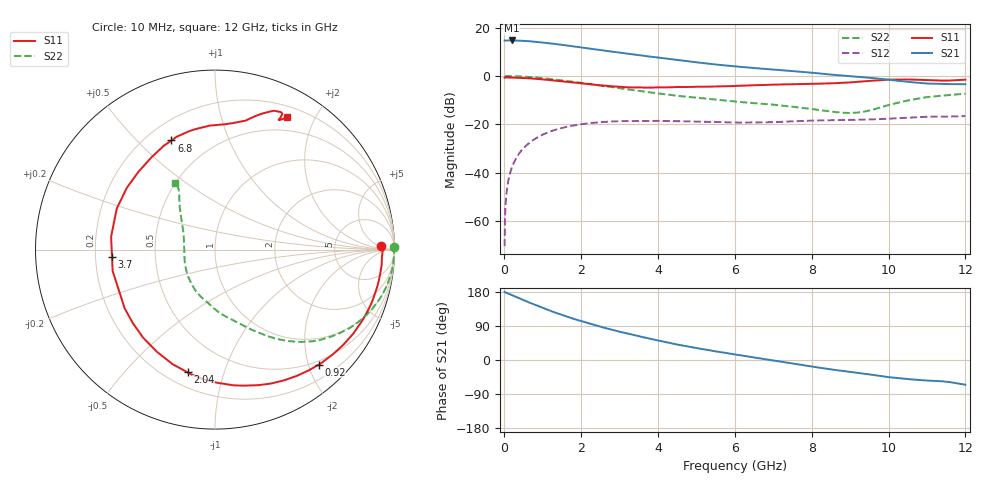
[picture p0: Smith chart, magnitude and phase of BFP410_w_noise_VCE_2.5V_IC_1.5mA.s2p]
! Infineon Technologies  Discrete & RF Semiconductors
! BFP410
! VCE =  2.5 V,  IC =  1.5 mA
! Common Emitter S-Parameters:  Nov 2015
# GHz  S  MA  R  50
!  f  S11  S21  S12  S22
! GHz  MAG  ANG  MAG  ANG  MAG  ANG  MAG  ANG
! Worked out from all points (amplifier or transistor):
!   243 points, 10 MHz to 12 GHz, reference 50 ohm
!   highest |S21| = 14.7 dB at 200 MHz (marker M1)
!   |S21| within 3 dB of that: start of sweep to 2.05 GHz
!   unconditionally stable (mu >= 1): 4.323 GHz to end of sweep
!   at 240 MHz: K = 0.03, MSG = 25.4 dB, |S12| = -36.2 dB
!   at 1.84 GHz: K = 0.33, MSG = 16.3 dB, |S12| = -20.4 dB
!   at 12 GHz: K = 1.19, MAG = 4.0 dB, |S12| = -16.6 dB
!   lowest NFmin = 0.80 dB at 900 MHz
!   S11 on the Smith chart (normalised r, x): 10 MHz: 25, +6; 920 MHz: 0.43, -2.18; 2.04 GHz: 0.28, -0.76; 3.7 GHz: 0.27, -0.03; 6.8 GHz: 0.30, +0.63; 12 GHz: 0.33, +1.64
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0.01  0.9263 1.1  5.454 179.6  0.0003 73.1  1 0.9
0.02  0.934 -0.6  5.435 179.2  0.0012 81.6  0.9933 0.1
0.045  0.9314 -2.0  5.429 177.7  0.0029 82.3  0.9974 -0.7
0.11  0.9321 -5.6  5.45 175.2  0.0071 86.8  0.9974 -2.9
0.2  0.9291 -10.3  5.455 171.4  0.0129 84.4  0.9945 -5.3
0.6  0.9016 -31.2  5.285 153.7  0.0381 72.8  0.9618 -15.9
0.92  0.8629 -47.9  5.027 140.7  0.0567 63.5  0.9161 -23.8
1.2  0.8234 -62.3  4.753 129.7  0.0713 55.8  0.8683 -30.2
1.4  0.7925 -72.4  4.532 122.3  0.08 50.4  0.8314 -34.4
1.66  0.754 -84.9  4.262 113.3  0.0899 43.9  0.7842 -39.4
2.02  0.704 -101.7  3.892 102.0  0.1009 35.9  0.7211 -45.4
2.04  0.7006 -102.6  3.872 101.4  0.1013 35.4  0.7175 -45.7
2.8  0.614 -138.2  3.207 79.8  0.1146 20.5  0.5868 -56.8
3.7  0.5753 -175.7  2.582 58.4  0.1177 7.8  0.4697 -67.5
4.1  0.5818 169.8  2.362 49.4  0.1176 3.4  0.4275 -72.5
5  0.5997 145.1  1.924 31.3  0.114 -4.0  0.3559 -85.4
6.1  0.6265 123.2  1.562 13.1  0.1089 -7.9  0.2921 -99.7
6.8  0.6547 111.8  1.4 1.9  0.1102 -8.5  0.2625 -111.2
8.2  0.6948 88.9  1.13 -20.3  0.1202 -12.9  0.197 -144.5
9.2  0.7598 74.7  0.964 -34.0  0.1243 -16.0  0.1754 169.9
10.2  0.8448 65.7  0.805 -47.2  0.1334 -18.6  0.2744 134.1
12  0.8409 61.3  0.677 -65.3  0.148 -29.9  0.4312 121.3
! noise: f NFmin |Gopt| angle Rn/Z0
0.45  0.83  0.58  8  0.37
0.9  0.8  0.56  23  0.31
1.8  1.07  0.45  56  0.26
2.4  1.14  0.41  67  0.25
5.5  2.37  0.4  -150  0.18
10  4.33  0.72  -58  2.98
